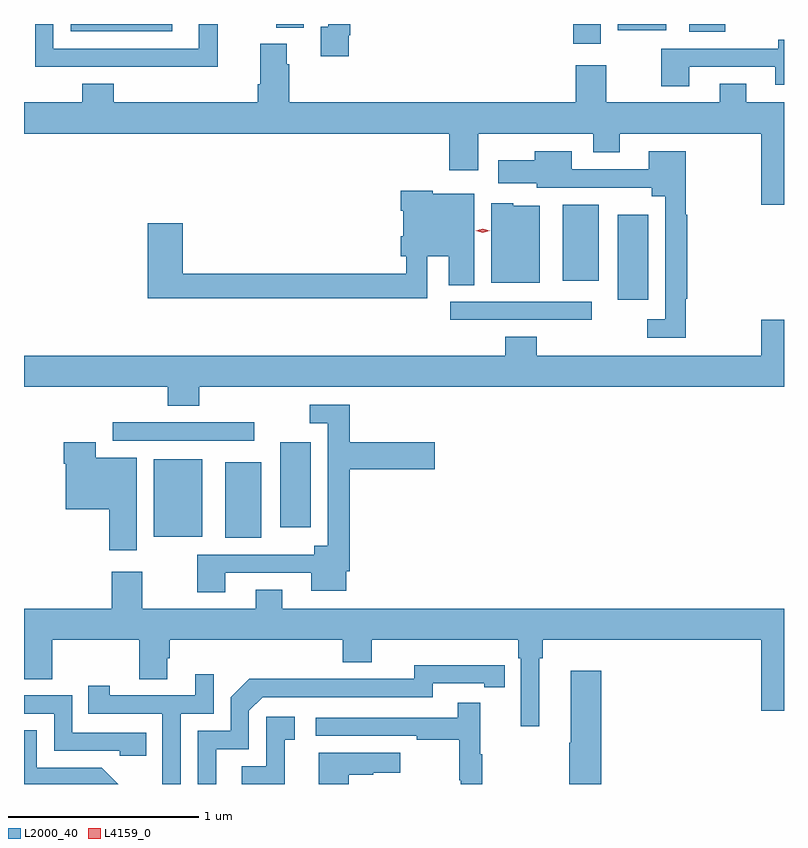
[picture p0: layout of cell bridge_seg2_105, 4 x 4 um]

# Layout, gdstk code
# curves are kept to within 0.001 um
import gdstk
lib = gdstk.Library(unit=1e-6, precision=1e-09)
def R(c, l, rs):  # rectangles x0, y0, x1, y1
    for r in rs: c.add(gdstk.rectangle(r[:2], r[2:], *l))
def P(c, l, *ps):  # polygons
    for p in ps: c.add(gdstk.Polygon(p, *l))
L2000_40 = (2000, 40)
L4159_0 = (4159, 0)

bridge_seg2_105 = lib.new_cell('bridge_seg2_105')
R(bridge_seg2_105, L2000_40, [(509.84,608.213,510.028,608.611), (509.462,608.219,509.719,608.626), (510.128,608.268,510.289,608.716), (509.247,608.724,509.992,608.82), (511.023,609.36,511.768,609.456), (511.904,609.465,512.065,609.913), (511.616,609.566,511.804,609.967), (511.67,610.812,511.816,610.917), (512.282,610.877,512.47,610.917), (509.025,610.878,509.56,610.917), (511.904,610.883,512.161,610.917), (510.107,610.898,510.253,610.917)])
P(bridge_seg2_105, L2000_40, [(509.799,610.917),(509.699,610.917),(509.699,610.788),(508.935,610.788),(508.935,610.917),(508.839,610.917),(508.839,610.692),(509.335,610.692),(509.335,610.691),(509.799,610.691)],
  [(510.49,610.858),(510.497,610.858),(510.497,610.917),(510.381,610.917),(510.381,610.902),(510.341,610.902),(510.341,610.746),(510.49,610.746)],
  [(512.281,610.692),(512.735,610.692),(512.735,610.598),(512.78,610.598),(512.78,610.834),(512.75,610.834),(512.75,610.788),(512.134,610.788),(512.134,610.59),(512.281,610.59)],
  [(512.78,610.504),(512.581,610.504),(512.581,610.603),(512.441,610.603),(512.441,610.504),(511.845,610.504),(511.845,610.699),(511.685,610.699),(511.685,610.504),(510.176,610.504),(510.176,610.706),(510.163,610.706),(510.163,610.813),(510.023,610.813),(510.023,610.6),(510.011,610.6),(510.011,610.504),(509.252,610.504),(509.252,610.603),(509.087,610.603),(509.087,610.504),(508.78,610.504),(508.78,610.34),(511.019,610.34),(511.019,610.146),(511.171,610.146),(511.171,610.34),(511.775,610.34),(511.775,610.241),(511.915,610.241),(511.915,610.34),(512.66,610.34),(512.66,609.966),(512.78,609.966)],
  [(512.263,609.47),(512.27,609.47),(512.27,609.914),(512.263,609.914),(512.263,610.246),(512.069,610.246),(512.069,610.152),(511.663,610.152),(511.663,610.246),(511.468,610.246),(511.468,610.201),(511.275,610.201),(511.275,610.079),(511.479,610.079),(511.479,610.056),(512.084,610.056),(512.084,610.01),(512.154,610.01),(512.154,609.363),(512.061,609.363),(512.061,609.267),(512.263,609.267)],
  [(510.903,609.695),(511.016,609.695),(511.016,609.541),(511.15,609.541),(511.15,610.024),(510.93,610.024),(510.93,610.039),(510.764,610.039),(510.764,609.935),(510.776,609.935),(510.776,609.799),(510.764,609.799),(510.764,609.695),(510.791,609.695),(510.791,609.602),(509.615,609.602),(509.615,609.868),(509.432,609.868),(509.432,609.474),(510.903,609.474)],
  [(511.495,609.961),(511.356,609.961),(511.356,609.973),(511.238,609.973),(511.238,609.554),(511.495,609.554)],
  [(509.702,609.008),(512.78,609.008),(512.78,609.361),(512.66,609.361),(512.66,609.172),(511.478,609.172),(511.478,609.271),(511.313,609.271),(511.313,609.172),(508.78,609.172),(508.78,609.008),(509.537,609.008),(509.537,608.909),(509.702,608.909)],
  [(509.839,608.028),(510.293,608.028),(510.293,607.934),(510.475,607.934),(510.475,608.038),(510.494,608.038),(510.494,608.573),(510.943,608.573),(510.943,608.715),(510.494,608.715),(510.494,608.913),(510.285,608.913),(510.285,608.817),(510.378,608.817),(510.378,608.17),(510.308,608.17),(510.308,608.124),(509.692,608.124),(509.692,607.926),(509.839,607.926)],
  [(509.374,608.635),(509.158,608.635),(509.158,608.716),(508.988,608.716),(508.988,608.603),(509,608.603),(509,608.363),(509.228,608.363),(509.228,608.148),(509.374,608.148)],
  [(511.492,607.58),(511.511,607.58),(511.511,607.676),(512.66,607.676),(512.66,607.302),(512.78,607.302),(512.78,607.84),(510.139,607.84),(510.139,607.939),(509.999,607.939),(509.999,607.84),(509.403,607.84),(509.403,608.035),(509.243,608.035),(509.243,607.84),(508.78,607.84),(508.78,607.578),(508.781,607.578),(508.781,607.468),(508.929,607.468),(508.929,607.676),(509.386,607.676),(509.386,607.468),(509.533,607.468),(509.533,607.578),(509.546,607.578),(509.546,607.676),(510.458,607.676),(510.458,607.559),(510.61,607.559),(510.61,607.676),(511.382,607.676),(511.382,607.58),(511.395,607.58),(511.395,607.221),(511.492,607.221)],
  [(509.791,607.101),(509.964,607.101),(509.964,607.302),(510.036,607.374),(510.93,607.374),(510.93,607.446),(511.202,607.446),(511.202,607.426),(511.31,607.426),(511.31,607.542),(510.834,607.543),(510.834,607.47),(510.374,607.47),(510.374,607.472),(509.966,607.472),(509.868,607.374),(509.868,607.197),(509.694,607.197),(509.694,606.917),(509.791,606.917)],
  [(511.817,607.513),(511.658,607.513),(511.658,607.133),(511.651,607.133),(511.651,606.917),(511.817,606.917)],
  [(509.604,607.287),(509.778,607.287),(509.778,607.495),(509.681,607.495),(509.681,607.383),(509.23,607.383),(509.23,607.435),(509.119,607.435),(509.119,607.287),(509.508,607.287),(509.508,606.917),(509.604,606.917)],
  [(509.423,607.188),(509.034,607.188),(509.034,607.383),(508.78,607.383),(508.78,607.287),(508.938,607.287),(508.938,607.092),(509.283,607.092),(509.283,607.065),(509.423,607.065)],
  [(511.192,607.073),(511.181,607.073),(511.181,607.345),(511.063,607.345),(511.063,607.266),(510.315,607.266),(510.315,607.17),(510.847,607.17),(510.847,607.15),(511.071,607.15),(511.071,606.936),(511.078,606.936),(511.078,606.917),(511.192,606.917)],
  [(510.152,607.149),(510.205,607.149),(510.205,607.27),(510.054,607.27),(510.054,607.011),(509.925,607.011),(509.925,606.917),(510.152,606.917)],
  [(509.19,607.002),(508.848,607.002),(508.848,607.201),(508.78,607.201),(508.78,606.917),(509.275,606.917)],
  [(510.49,606.967),(510.617,606.967),(510.617,606.977),(510.76,606.977),(510.76,607.081),(510.332,607.081),(510.332,606.917),(510.49,606.917)])
P(bridge_seg2_105, L4159_0, [(511.194,609.819),(511.157,609.829),(511.157,609.829),(511.157,609.83),(511.194,609.839),(511.23,609.828),(511.231,609.828),(511.23,609.828)])

lib.write_gds('bridge_seg2_105.gds')
